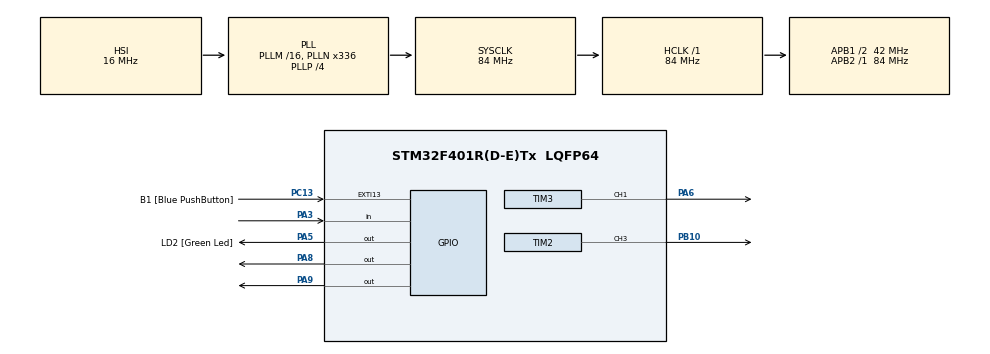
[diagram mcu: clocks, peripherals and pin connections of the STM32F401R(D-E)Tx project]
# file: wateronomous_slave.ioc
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Mcu.Family=STM32F4
Mcu.Name=STM32F401R(D-E)Tx
Mcu.Package=LQFP64
NVIC.PriorityGroup=NVIC_PRIORITYGROUP_0
PA13.GPIO_Label=TMS
PA13.Mode=Serial_Wire
PA13.Signal=SYS_JTMS-SWDIO
PA14.GPIO_Label=TCK
PA14.Mode=Serial_Wire
PA14.Signal=SYS_JTCK-SWCLK
PA3.Signal=GPIO_Input
PA5.GPIO_Label=LD2 [Green Led]
PA5.GPIO_Mode=GPIO_MODE_OUTPUT_PP
PA5.GPIO_PuPd=GPIO_NOPULL
PA5.GPIO_Speed=GPIO_SPEED_FREQ_LOW
PA5.Signal=GPIO_Output
PA6.Signal=S_TIM3_CH1
PA8.Signal=GPIO_Output
PA9.Signal=GPIO_Output
PB10.Signal=S_TIM2_CH3
PC13-ANTI_TAMP.GPIO_Label=B1 [Blue PushButton]
PC13-ANTI_TAMP.GPIO_ModeDefaultEXTI=GPIO_MODE_IT_FALLING
PC13-ANTI_TAMP.GPIO_PuPd=GPIO_NOPULL
PC13-ANTI_TAMP.Signal=GPXTI13
PC14-OSC32_IN.Mode=LSE-External-Oscillator
PC14-OSC32_IN.Signal=RCC_OSC32_IN
PC15-OSC32_OUT.Mode=LSE-External-Oscillator
PC15-OSC32_OUT.Signal=RCC_OSC32_OUT
PH0\ -\ OSC_IN.Mode=HSE-External-Clock-Source
PH0\ -\ OSC_IN.Signal=RCC_OSC_IN
PH1\ -\ OSC_OUT.Mode=HSE-External-Clock-Source
PH1\ -\ OSC_OUT.Signal=RCC_OSC_OUT
ProjectManager.HeapSize=0x200
ProjectManager.StackSize=0x400
ProjectManager.TargetToolchain=STM32CubeIDE
RCC.48MHZClocksFreq_Value=48000000
RCC.AHBFreq_Value=84000000
RCC.APB1CLKDivider=RCC_HCLK_DIV2
RCC.APB1Freq_Value=42000000
RCC.APB1TimFreq_Value=84000000
RCC.APB2Freq_Value=84000000
RCC.APB2TimFreq_Value=84000000
RCC.CortexFreq_Value=84000000
RCC.HCLKFreq_Value=84000000
RCC.HSE_VALUE=8000000
RCC.HSI_VALUE=16000000
RCC.PLLN=336
RCC.PLLP=RCC_PLLP_DIV4
RCC.PLLQ=7
RCC.SYSCLKFreq_VALUE=84000000
RCC.SYSCLKSource=RCC_SYSCLKSOURCE_PLLCLK
RCC.VCOOutputFreq_Value=336000000
SH.S_TIM2_CH3.0=TIM2_CH3,PWM Generation3 CH3
SH.S_TIM3_CH1.0=TIM3_CH1,PWM Generation1 CH1
TIM2.AutoReloadPreload=TIM_AUTORELOAD_PRELOAD_DISABLE
TIM2.Channel-PWM\ Generation3\ CH3=TIM_CHANNEL_3
TIM2.ClockDivision=TIM_CLOCKDIVISION_DIV1
TIM2.Period=999
TIM2.Prescaler=8399
TIM2.Pulse-PWM\ Generation3\ CH3=25
TIM3.AutoReloadPreload=TIM_AUTORELOAD_PRELOAD_DISABLE
TIM3.Channel-PWM\ Generation1\ CH1=TIM_CHANNEL_1
TIM3.ClockDivision=TIM_CLOCKDIVISION_DIV1
TIM3.Period=999
TIM3.Prescaler=8399
TIM3.Pulse-PWM\ Generation1\ CH1=70
VP_TIM2_VS_ClockSourceINT.Mode=Internal
board=NUCLEO-F401RE

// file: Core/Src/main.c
/* USER CODE BEGIN Header */
/**
  ******************************************************************************
  * @file           : main.c
  * @brief          : Main program body
  ******************************************************************************
  * @attention
  *
  * Copyright (c) 2024 STMicroelectronics.
  * All rights reserved.
  *
  * This software is licensed under terms that can be found in the LICENSE file
  * in the root directory of this software component.
  * If no LICENSE file comes with this software, it is provided AS-IS.
  *
  ******************************************************************************
  */
/* USER CODE END Header */
#include "main.h"

TIM_HandleTypeDef htim2;
TIM_HandleTypeDef htim3;

void SystemClock_Config(void);
static void MX_GPIO_Init(void);
static void MX_TIM2_Init(void);
static void MX_TIM3_Init(void);

int main(void)
{

  /* MCU Configuration--------------------------------------------------------*/

  /* Reset of all peripherals, Initializes the Flash interface and the Systick. */
  HAL_Init();

  /* Configure the system clock */
  SystemClock_Config();

  /* Initialize all configured peripherals */
  MX_GPIO_Init();
  MX_TIM2_Init();
  MX_TIM3_Init();
  /* USER CODE BEGIN 2 */

  //Left Motor
  HAL_TIM_PWM_Start(&htim3, TIM_CHANNEL_1);

  /* USER CODE END 2 */

  /* Infinite loop */
  while (1)
  {

  }
}

void SystemClock_Config(void)
{
  RCC_OscInitTypeDef RCC_OscInitStruct = {0};
  RCC_ClkInitTypeDef RCC_ClkInitStruct = {0};

  /** Configure the main internal regulator output voltage
  */
  __HAL_RCC_PWR_CLK_ENABLE();
  __HAL_PWR_VOLTAGESCALING_CONFIG(PWR_REGULATOR_VOLTAGE_SCALE2);

  /** Initializes the RCC Oscillators according to the specified parameters
  * in the RCC_OscInitTypeDef structure.
  */
  RCC_OscInitStruct.OscillatorType = RCC_OSCILLATORTYPE_HSI;
  RCC_OscInitStruct.HSIState = RCC_HSI_ON;
  RCC_OscInitStruct.HSICalibrationValue = RCC_HSICALIBRATION_DEFAULT;
  RCC_OscInitStruct.PLL.PLLState = RCC_PLL_ON;
  RCC_OscInitStruct.PLL.PLLSource = RCC_PLLSOURCE_HSI;
  RCC_OscInitStruct.PLL.PLLM = 16;
  RCC_OscInitStruct.PLL.PLLN = 336;
  RCC_OscInitStruct.PLL.PLLP = RCC_PLLP_DIV4;
  RCC_OscInitStruct.PLL.PLLQ = 7;
  if (HAL_RCC_OscConfig(&RCC_OscInitStruct) != HAL_OK)
  {
    Error_Handler();
  }

  /** Initializes the CPU, AHB and APB buses clocks
  */
  RCC_ClkInitStruct.ClockType = RCC_CLOCKTYPE_HCLK|RCC_CLOCKTYPE_SYSCLK
                              |RCC_CLOCKTYPE_PCLK1|RCC_CLOCKTYPE_PCLK2;
  RCC_ClkInitStruct.SYSCLKSource = RCC_SYSCLKSOURCE_PLLCLK;
  RCC_ClkInitStruct.AHBCLKDivider = RCC_SYSCLK_DIV1;
  RCC_ClkInitStruct.APB1CLKDivider = RCC_HCLK_DIV2;
  RCC_ClkInitStruct.APB2CLKDivider = RCC_HCLK_DIV1;

  if (HAL_RCC_ClockConfig(&RCC_ClkInitStruct, FLASH_LATENCY_2) != HAL_OK)
  {
    Error_Handler();
  }
}

static void MX_TIM2_Init(void)
{

  TIM_ClockConfigTypeDef sClockSourceConfig = {0};
  TIM_MasterConfigTypeDef sMasterConfig = {0};
  TIM_OC_InitTypeDef sConfigOC = {0};

  htim2.Instance = TIM2;
  htim2.Init.Prescaler = 8399;
  htim2.Init.CounterMode = TIM_COUNTERMODE_UP;
  htim2.Init.Period = 999;
  htim2.Init.ClockDivision = TIM_CLOCKDIVISION_DIV1;
  htim2.Init.AutoReloadPreload = TIM_AUTORELOAD_PRELOAD_DISABLE;
  if (HAL_TIM_Base_Init(&htim2) != HAL_OK)
  {
    Error_Handler();
  }
  sClockSourceConfig.ClockSource = TIM_CLOCKSOURCE_INTERNAL;
  if (HAL_TIM_ConfigClockSource(&htim2, &sClockSourceConfig) != HAL_OK)
  {
    Error_Handler();
  }
  if (HAL_TIM_PWM_Init(&htim2) != HAL_OK)
  {
    Error_Handler();
  }
  sMasterConfig.MasterOutputTrigger = TIM_TRGO_RESET;
  sMasterConfig.MasterSlaveMode = TIM_MASTERSLAVEMODE_DISABLE;
  if (HAL_TIMEx_MasterConfigSynchronization(&htim2, &sMasterConfig) != HAL_OK)
  {
    Error_Handler();
  }
  sConfigOC.OCMode = TIM_OCMODE_PWM1;
  sConfigOC.Pulse = 25;
  sConfigOC.OCPolarity = TIM_OCPOLARITY_HIGH;
  sConfigOC.OCFastMode = TIM_OCFAST_DISABLE;
  if (HAL_TIM_PWM_ConfigChannel(&htim2, &sConfigOC, TIM_CHANNEL_3) != HAL_OK)
  {
    Error_Handler();
  }
  HAL_TIM_MspPostInit(&htim2);

}

static void MX_TIM3_Init(void)
{

  TIM_MasterConfigTypeDef sMasterConfig = {0};
  TIM_OC_InitTypeDef sConfigOC = {0};

  htim3.Instance = TIM3;
  htim3.Init.Prescaler = 8399;
  htim3.Init.CounterMode = TIM_COUNTERMODE_UP;
  htim3.Init.Period = 999;
  htim3.Init.ClockDivision = TIM_CLOCKDIVISION_DIV1;
  htim3.Init.AutoReloadPreload = TIM_AUTORELOAD_PRELOAD_DISABLE;
  if (HAL_TIM_PWM_Init(&htim3) != HAL_OK)
  {
    Error_Handler();
  }
  sMasterConfig.MasterOutputTrigger = TIM_TRGO_RESET;
  sMasterConfig.MasterSlaveMode = TIM_MASTERSLAVEMODE_DISABLE;
  if (HAL_TIMEx_MasterConfigSynchronization(&htim3, &sMasterConfig) != HAL_OK)
  {
    Error_Handler();
  }
  sConfigOC.OCMode = TIM_OCMODE_PWM1;
  sConfigOC.Pulse = 70;
  sConfigOC.OCPolarity = TIM_OCPOLARITY_HIGH;
  sConfigOC.OCFastMode = TIM_OCFAST_DISABLE;
  if (HAL_TIM_PWM_ConfigChannel(&htim3, &sConfigOC, TIM_CHANNEL_1) != HAL_OK)
  {
    Error_Handler();
  }
  HAL_TIM_MspPostInit(&htim3);

}

static void MX_GPIO_Init(void)
{
  GPIO_InitTypeDef GPIO_InitStruct = {0};

  /* GPIO Ports Clock Enable */
  __HAL_RCC_GPIOC_CLK_ENABLE();
  __HAL_RCC_GPIOH_CLK_ENABLE();
  __HAL_RCC_GPIOA_CLK_ENABLE();
  __HAL_RCC_GPIOB_CLK_ENABLE();

  /*Configure GPIO pin Output Level */
  HAL_GPIO_WritePin(GPIOA, LD2_Pin|GPIO_PIN_8|GPIO_PIN_9, GPIO_PIN_RESET);

  /*Configure GPIO pin : B1_Pin */
  GPIO_InitStruct.Pin = B1_Pin;
  GPIO_InitStruct.Mode = GPIO_MODE_IT_FALLING;
  GPIO_InitStruct.Pull = GPIO_NOPULL;
  HAL_GPIO_Init(B1_GPIO_Port, &GPIO_InitStruct);

  /*Configure GPIO pin : PA3 */
  GPIO_InitStruct.Pin = GPIO_PIN_3;
  GPIO_InitStruct.Mode = GPIO_MODE_INPUT;
  GPIO_InitStruct.Pull = GPIO_NOPULL;
  HAL_GPIO_Init(GPIOA, &GPIO_InitStruct);

  /*Configure GPIO pins : LD2_Pin PA8 PA9 */
  GPIO_InitStruct.Pin = LD2_Pin|GPIO_PIN_8|GPIO_PIN_9;
  GPIO_InitStruct.Mode = GPIO_MODE_OUTPUT_PP;
  GPIO_InitStruct.Pull = GPIO_NOPULL;
  GPIO_InitStruct.Speed = GPIO_SPEED_FREQ_LOW;
  HAL_GPIO_Init(GPIOA, &GPIO_InitStruct);

}

/* USER CODE BEGIN 4 */

void open_water(){
		  HAL_TIM_PWM_Start(&htim2, TIM_CHANNEL_3);
		  HAL_GPIO_WritePin(GPIOA, GPIO_PIN_8, GPIO_PIN_SET);
		  HAL_GPIO_WritePin(GPIOA, GPIO_PIN_9, GPIO_PIN_RESET);
		  HAL_Delay(500);

		  HAL_TIM_PWM_Stop(&htim2, TIM_CHANNEL_3);
		  HAL_GPIO_WritePin(GPIOA, GPIO_PIN_8, GPIO_PIN_RESET);
		  HAL_GPIO_WritePin(GPIOA, GPIO_PIN_9, GPIO_PIN_RESET);
		  HAL_Delay(1000);

		  HAL_TIM_PWM_Start(&htim2, TIM_CHANNEL_3);
		  HAL_GPIO_WritePin(GPIOA, GPIO_PIN_8, GPIO_PIN_RESET);
		  HAL_GPIO_WritePin(GPIOA, GPIO_PIN_9, GPIO_PIN_SET);
		  HAL_Delay(500);

		  HAL_TIM_PWM_Stop(&htim2, TIM_CHANNEL_3);
		  HAL_GPIO_WritePin(GPIOA, GPIO_PIN_8, GPIO_PIN_RESET);
		  HAL_GPIO_WritePin(GPIOA, GPIO_PIN_9, GPIO_PIN_RESET);
		  HAL_Delay(1000);
}

/* USER CODE END 4 */

void Error_Handler(void)
{
  __disable_irq();
  while (1)
  {
  }
}
